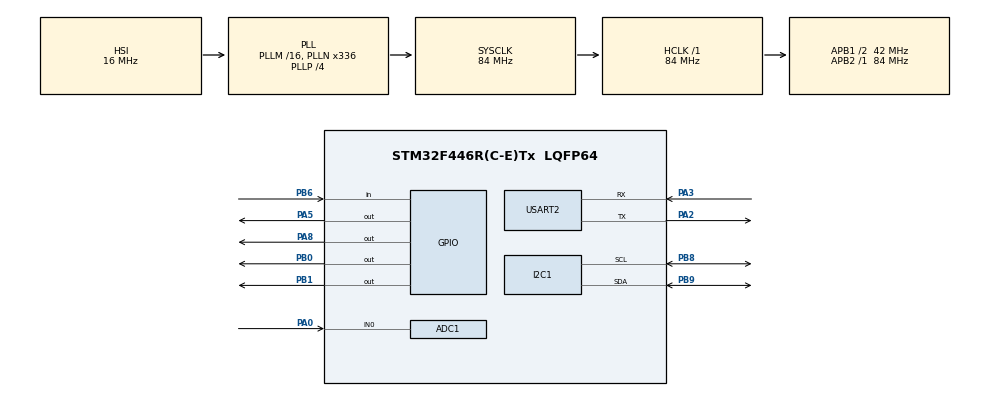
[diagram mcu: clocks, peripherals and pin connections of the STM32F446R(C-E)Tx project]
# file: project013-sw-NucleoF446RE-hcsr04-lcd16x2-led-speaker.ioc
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ADC1.Channel-0\#ChannelRegularConversion=ADC_CHANNEL_0
ADC1.ContinuousConvMode=ENABLE
ADC1.InjNumberOfConversion=0
ADC1.NbrOfConversion=1
ADC1.NbrOfConversionFlag=1
ADC1.Rank-0\#ChannelRegularConversion=1
ADC1.SamplingTime-0\#ChannelRegularConversion=ADC_SAMPLETIME_3CYCLES
ADC1.master=1
Mcu.Family=STM32F4
Mcu.Name=STM32F446R(C-E)Tx
Mcu.Package=LQFP64
NVIC.PriorityGroup=NVIC_PRIORITYGROUP_0
NVIC.TIM3_IRQn=true\:0\:0\:false\:false\:true\:true\:true\:true
NVIC.USART2_IRQn=true\:0\:0\:false\:false\:true\:true\:true\:true
PA0-WKUP.Signal=ADCx_IN0
PA2.Mode=Asynchronous
PA2.Signal=USART2_TX
PA3.Mode=Asynchronous
PA3.Signal=USART2_RX
PA5.Signal=GPIO_Output
PA8.PinState=GPIO_PIN_SET
PA8.Signal=GPIO_Output
PB0.Signal=GPIO_Output
PB1.Signal=GPIO_Output
PB6.Signal=GPIO_Input
PB8.GPIO_Pu=GPIO_PULLUP
PB8.Mode=I2C
PB8.Signal=I2C1_SCL
PB9.GPIO_Pu=GPIO_PULLUP
PB9.Mode=I2C
PB9.Signal=I2C1_SDA
PH0-OSC_IN.Mode=HSE-External-Oscillator
PH0-OSC_IN.Signal=RCC_OSC_IN
PH1-OSC_OUT.Mode=HSE-External-Oscillator
PH1-OSC_OUT.Signal=RCC_OSC_OUT
ProjectManager.HeapSize=0x200
ProjectManager.StackSize=0x400
ProjectManager.TargetToolchain=STM32CubeIDE
RCC.48MHZClocksFreq_Value=84000000
RCC.AHBFreq_Value=84000000
RCC.APB1CLKDivider=RCC_HCLK_DIV2
RCC.APB1Freq_Value=42000000
RCC.APB1TimFreq_Value=84000000
RCC.APB2Freq_Value=84000000
RCC.APB2TimFreq_Value=84000000
RCC.CortexFreq_Value=84000000
RCC.FLatency-AdvancedSettings=FLASH_LATENCY_2
RCC.HCLKFreq_Value=84000000
RCC.HSE_VALUE=8000000
RCC.HSI_VALUE=16000000
RCC.PLLN=336
RCC.PLLP=RCC_PLLP_DIV4
RCC.SYSCLKFreq_VALUE=84000000
RCC.SYSCLKSource=RCC_SYSCLKSOURCE_PLLCLK
RCC.USBFreq_Value=168000000
RCC.VCOOutputFreq_Value=336000000
SH.ADCx_IN0.0=ADC1_IN0,IN0
TIM2.Period=65535
TIM2.Prescaler=83
TIM3.Period=49999
TIM3.Prescaler=8399
USART2.VirtualMode=VM_ASYNC
VP_TIM2_VS_ClockSourceINT.Mode=Internal
VP_TIM3_VS_ClockSourceINT.Mode=Internal
board=NUCLEO-F446RE

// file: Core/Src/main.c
/* USER CODE BEGIN Header */
/**
  ******************************************************************************
  * @file           : main.c
  * @brief          : Main program body
  ******************************************************************************
  * @attention
  *
  * Copyright (c) 2025 STMicroelectronics.
  * All rights reserved.
  *
  * This software is licensed under terms that can be found in the LICENSE file
  * in the root directory of this software component.
  * If no LICENSE file comes with this software, it is provided AS-IS.
  *
  ******************************************************************************
  */
/* USER CODE END Header */
#include "main.h"

/* USER CODE BEGIN Includes */
#include "string.h"
#include "stdio.h"
#include "i2c-lcd.h"
#include "hdlc.h"
#include "command_handler.h"

/* USER CODE END Includes */

ADC_HandleTypeDef hadc1;
I2C_HandleTypeDef hi2c1;
TIM_HandleTypeDef htim2;
TIM_HandleTypeDef htim3;
UART_HandleTypeDef huart2;

/* USER CODE BEGIN PV */
#define DIST_BUFFER_SIZE 50
float distance_buffer[DIST_BUFFER_SIZE];
uint8_t distance_index = 0;
uint8_t last_index = 0; // index where last interrupt finished
uint8_t last_sent_index = 0;

float lower_limit = 5.0f;
float upper_limit = 50.0f;
float scaling_factor = 1.0f;
float eff_lower = 0.0f;
float eff_upper = 0.0f;
float distance = 0.00f;
uint8_t rx_byte;
/* USER CODE END PV */

int _write(int file, char *ptr, int len)
{
    HAL_UART_Transmit(&huart2, (uint8_t *)ptr, len, HAL_MAX_DELAY);
    return len;
}

void HAL_TIM_PeriodElapsedCallback(TIM_HandleTypeDef *htim)
{
    if (htim->Instance == TIM3)
    {
        float sum = 0.0f;
        uint8_t count = 0;
        uint8_t i = last_index;

        // Loop through circular buffer between last_index and current index
        while (i != distance_index)
        {
            sum += distance_buffer[i];
            count++;
            i = (i + 1) % DIST_BUFFER_SIZE;
        }

        if (count > 0)
        {
            float avg = sum / count;
            //printf("[TIM3 INT] Average distance from last interrupt: %.2f cm\r\n", avg);
        }

        // Update last_index to the current index
        last_index = distance_index;
    }
}

/*--------------------------------------------------------------*/
/* Utility: microsecond delay using TIM2                        */
void delay_us(uint16_t us)
{
    __HAL_TIM_SET_COUNTER(&htim2, 0);
    while (__HAL_TIM_GET_COUNTER(&htim2) < us);
}

/*--------------------------------------------------------------*/
/* Measure echo pulse duration in microseconds                  */
uint32_t read_ultrasonic(void)
{
    uint32_t local_time = 0;
    // Ensure trigger low
    HAL_GPIO_WritePin(GPIOA, GPIO_PIN_8, GPIO_PIN_RESET);
    HAL_Delay(2);
    // Send 10 µs pulse
    HAL_GPIO_WritePin(GPIOA, GPIO_PIN_8, GPIO_PIN_SET);
    delay_us(10);
    HAL_GPIO_WritePin(GPIOA, GPIO_PIN_8, GPIO_PIN_RESET);
    // Wait for ECHO to go high
    while (HAL_GPIO_ReadPin(GPIOB, GPIO_PIN_6) == GPIO_PIN_RESET);
    __HAL_TIM_SET_COUNTER(&htim2, 0); // start counting
    // Wait for ECHO to go low
    while (HAL_GPIO_ReadPin(GPIOB, GPIO_PIN_6) == GPIO_PIN_SET);
    local_time = __HAL_TIM_GET_COUNTER(&htim2);

    return local_time;
}
void store_distance(float value)
{
    distance_buffer[distance_index] = value;
    distance_index = (distance_index + 1) % DIST_BUFFER_SIZE;
}

void check_distance_warning(float distance,float eff_lower,float eff_upper){
    if (distance < eff_lower) {
  	  HAL_GPIO_WritePin(GPIOB, GPIO_PIN_0, GPIO_PIN_SET); // turn led on
  	  HAL_GPIO_WritePin(GPIOB, GPIO_PIN_1, GPIO_PIN_RESET); // turn buzzer off
    } else if (distance > eff_upper) {
  	  HAL_GPIO_WritePin(GPIOB, GPIO_PIN_0, GPIO_PIN_RESET); // turn led off
  	  HAL_GPIO_WritePin(GPIOB, GPIO_PIN_1, GPIO_PIN_SET); // turn buzzer on
    } else {
  	  HAL_GPIO_WritePin(GPIOB, GPIO_PIN_0, GPIO_PIN_RESET); // turn led off
  	  HAL_GPIO_WritePin(GPIOB, GPIO_PIN_1, GPIO_PIN_RESET); // turn buzzer off
    }
}

uint32_t read_potentiometer() {
    HAL_ADC_Start(&hadc1);
    HAL_ADC_PollForConversion(&hadc1, HAL_MAX_DELAY);
    uint32_t adc_val = HAL_ADC_GetValue(&hadc1);
    HAL_ADC_Stop(&hadc1);
    return adc_val;
}

void HAL_UART_RxCpltCallback(UART_HandleTypeDef *huart)
{
    if (huart->Instance == USART2)
    {
        // DEBUG: uncomment for trace output
        // printf("RX: 0x%02X\r\n", rx_byte);

        // feed the received byte to the HDLC state machine
        hdlc_process_rx_byte(rx_byte, 0);

        // restart receive for next byte
        HAL_UART_Receive_IT(&huart2, &rx_byte, 1);
    }
}
/*--------------------------------------------------------------*/

void SystemClock_Config(void);
static void MX_GPIO_Init(void);
static void MX_TIM2_Init(void);
static void MX_USART2_UART_Init(void);
static void MX_TIM3_Init(void);
static void MX_I2C1_Init(void);
static void MX_ADC1_Init(void);

int main(void)
{

  /* MCU Configuration--------------------------------------------------------*/

  /* Reset of all peripherals, Initializes the Flash interface and the Systick. */
  HAL_Init();

  /* Configure the system clock */
  SystemClock_Config();

  /* Initialize all configured peripherals */
  MX_GPIO_Init();
  MX_TIM2_Init();
  MX_USART2_UART_Init();
  MX_TIM3_Init();
  MX_I2C1_Init();
  MX_ADC1_Init();
  /* USER CODE BEGIN 2 */
  HAL_TIM_Base_Start(&htim2);   // start TIM2 once
  HAL_TIM_Base_Start_IT(&htim3);
  hdlc_init();
  HAL_UART_Receive_IT(&huart2, &rx_byte, 1);

  lcd_init();
  HAL_Delay(50);
  if (HAL_I2C_IsDeviceReady(&hi2c1, LCD_ADDR, 2, 100) == HAL_OK)
      printf("LCD found at 0x%02X\r\n", LCD_ADDR >> 1);
  else
      printf("LCD not responding!\r\n");
  lcd_put_cur(0, 0);
  lcd_send_string("init");
  lcd_put_cur(1, 0);
  lcd_send_string("lcd");
  /* USER CODE END 2 */

  /* Infinite loop */
  /* USER CODE BEGIN WHILE */
  char buf[16];
  sprintf(buf, "UL:%.1f LL:%.1f", upper_limit, lower_limit);
  lcd_clear();
  lcd_put_cur(0, 0);
  lcd_send_string(buf);
  /*
  Distance=Speed of Sound×Time
  One-way distance=(Speed of Sound)×(Time)/2
  Speed of Sound-343 m/s=0.0343 cm/µs
  One-way distance=0.0343×(Time)/2
​  One-way distance=(Time)/58.3
  One-way distance=(Time)/58
  */
  while (1)
  {
      uint32_t time = read_ultrasonic();
      distance = (float)time / 58.0;
      store_distance(distance); // store in circular buffer

      //Compute scaling factor in real-time
      uint32_t adc_val = read_potentiometer();
      scaling_factor = (3.3f * adc_val) / 4095.0f;

      eff_lower = lower_limit * scaling_factor;
      eff_upper = upper_limit * scaling_factor;

      check_distance_warning(distance, eff_lower, eff_upper);

      // Update LCD with scaled limits on row 0
      lcd_put_cur(0, 0);
      sprintf(buf, "UL:%.1f LL:%.1f", eff_upper, eff_lower);
      lcd_send_string(buf);

      lcd_put_cur(1, 0);
      sprintf(buf, "S:%.1f Dis:%.1f", scaling_factor, distance);
      lcd_send_string(buf);

      HAL_GPIO_TogglePin(GPIOA, GPIO_PIN_5);
      HAL_Delay(500);
    /* USER CODE END WHILE */

  }
}

void SystemClock_Config(void)
{
  RCC_OscInitTypeDef RCC_OscInitStruct = {0};
  RCC_ClkInitTypeDef RCC_ClkInitStruct = {0};

  /** Configure the main internal regulator output voltage
  */
  __HAL_RCC_PWR_CLK_ENABLE();
  __HAL_PWR_VOLTAGESCALING_CONFIG(PWR_REGULATOR_VOLTAGE_SCALE3);

  /** Initializes the RCC Oscillators according to the specified parameters
  * in the RCC_OscInitTypeDef structure.
  */
  RCC_OscInitStruct.OscillatorType = RCC_OSCILLATORTYPE_HSI;
  RCC_OscInitStruct.HSIState = RCC_HSI_ON;
  RCC_OscInitStruct.HSICalibrationValue = RCC_HSICALIBRATION_DEFAULT;
  RCC_OscInitStruct.PLL.PLLState = RCC_PLL_ON;
  RCC_OscInitStruct.PLL.PLLSource = RCC_PLLSOURCE_HSI;
  RCC_OscInitStruct.PLL.PLLM = 16;
  RCC_OscInitStruct.PLL.PLLN = 336;
  RCC_OscInitStruct.PLL.PLLP = RCC_PLLP_DIV4;
  RCC_OscInitStruct.PLL.PLLQ = 2;
  RCC_OscInitStruct.PLL.PLLR = 2;
  if (HAL_RCC_OscConfig(&RCC_OscInitStruct) != HAL_OK)
  {
    Error_Handler();
  }

  /** Initializes the CPU, AHB and APB buses clocks
  */
  RCC_ClkInitStruct.ClockType = RCC_CLOCKTYPE_HCLK|RCC_CLOCKTYPE_SYSCLK
                              |RCC_CLOCKTYPE_PCLK1|RCC_CLOCKTYPE_PCLK2;
  RCC_ClkInitStruct.SYSCLKSource = RCC_SYSCLKSOURCE_PLLCLK;
  RCC_ClkInitStruct.AHBCLKDivider = RCC_SYSCLK_DIV1;
  RCC_ClkInitStruct.APB1CLKDivider = RCC_HCLK_DIV2;
  RCC_ClkInitStruct.APB2CLKDivider = RCC_HCLK_DIV1;

  if (HAL_RCC_ClockConfig(&RCC_ClkInitStruct, FLASH_LATENCY_2) != HAL_OK)
  {
    Error_Handler();
  }
}

static void MX_ADC1_Init(void)
{

  ADC_ChannelConfTypeDef sConfig = {0};

  /** Configure the global features of the ADC (Clock, Resolution, Data Alignment and number of conversion)
  */
  hadc1.Instance = ADC1;
  hadc1.Init.ClockPrescaler = ADC_CLOCK_SYNC_PCLK_DIV4;
  hadc1.Init.Resolution = ADC_RESOLUTION_12B;
  hadc1.Init.ScanConvMode = DISABLE;
  hadc1.Init.ContinuousConvMode = ENABLE;
  hadc1.Init.DiscontinuousConvMode = DISABLE;
  hadc1.Init.ExternalTrigConvEdge = ADC_EXTERNALTRIGCONVEDGE_NONE;
  hadc1.Init.ExternalTrigConv = ADC_SOFTWARE_START;
  hadc1.Init.DataAlign = ADC_DATAALIGN_RIGHT;
  hadc1.Init.NbrOfConversion = 1;
  hadc1.Init.DMAContinuousRequests = DISABLE;
  hadc1.Init.EOCSelection = ADC_EOC_SINGLE_CONV;
  if (HAL_ADC_Init(&hadc1) != HAL_OK)
  {
    Error_Handler();
  }

  /** Configure for the selected ADC regular channel its corresponding rank in the sequencer and its sample time.
  */
  sConfig.Channel = ADC_CHANNEL_0;
  sConfig.Rank = 1;
  sConfig.SamplingTime = ADC_SAMPLETIME_3CYCLES;
  if (HAL_ADC_ConfigChannel(&hadc1, &sConfig) != HAL_OK)
  {
    Error_Handler();
  }

}

static void MX_I2C1_Init(void)
{

  hi2c1.Instance = I2C1;
  hi2c1.Init.ClockSpeed = 100000;
  hi2c1.Init.DutyCycle = I2C_DUTYCYCLE_2;
  hi2c1.Init.OwnAddress1 = 0;
  hi2c1.Init.AddressingMode = I2C_ADDRESSINGMODE_7BIT;
  hi2c1.Init.DualAddressMode = I2C_DUALADDRESS_DISABLE;
  hi2c1.Init.OwnAddress2 = 0;
  hi2c1.Init.GeneralCallMode = I2C_GENERALCALL_DISABLE;
  hi2c1.Init.NoStretchMode = I2C_NOSTRETCH_DISABLE;
  if (HAL_I2C_Init(&hi2c1) != HAL_OK)
  {
    Error_Handler();
  }

}

static void MX_TIM2_Init(void)
{

  TIM_ClockConfigTypeDef sClockSourceConfig = {0};
  TIM_MasterConfigTypeDef sMasterConfig = {0};

  htim2.Instance = TIM2;
  htim2.Init.Prescaler = 83;
  htim2.Init.CounterMode = TIM_COUNTERMODE_UP;
  htim2.Init.Period = 65535;
  htim2.Init.ClockDivision = TIM_CLOCKDIVISION_DIV1;
  htim2.Init.AutoReloadPreload = TIM_AUTORELOAD_PRELOAD_DISABLE;
  if (HAL_TIM_Base_Init(&htim2) != HAL_OK)
  {
    Error_Handler();
  }
  sClockSourceConfig.ClockSource = TIM_CLOCKSOURCE_INTERNAL;
  if (HAL_TIM_ConfigClockSource(&htim2, &sClockSourceConfig) != HAL_OK)
  {
    Error_Handler();
  }
  sMasterConfig.MasterOutputTrigger = TIM_TRGO_RESET;
  sMasterConfig.MasterSlaveMode = TIM_MASTERSLAVEMODE_DISABLE;
  if (HAL_TIMEx_MasterConfigSynchronization(&htim2, &sMasterConfig) != HAL_OK)
  {
    Error_Handler();
  }

}

static void MX_TIM3_Init(void)
{

  TIM_ClockConfigTypeDef sClockSourceConfig = {0};
  TIM_MasterConfigTypeDef sMasterConfig = {0};

  htim3.Instance = TIM3;
  htim3.Init.Prescaler = 8399;
  htim3.Init.CounterMode = TIM_COUNTERMODE_UP;
  htim3.Init.Period = 49999;
  htim3.Init.ClockDivision = TIM_CLOCKDIVISION_DIV1;
  htim3.Init.AutoReloadPreload = TIM_AUTORELOAD_PRELOAD_DISABLE;
  if (HAL_TIM_Base_Init(&htim3) != HAL_OK)
  {
    Error_Handler();
  }
  sClockSourceConfig.ClockSource = TIM_CLOCKSOURCE_INTERNAL;
  if (HAL_TIM_ConfigClockSource(&htim3, &sClockSourceConfig) != HAL_OK)
  {
    Error_Handler();
  }
  sMasterConfig.MasterOutputTrigger = TIM_TRGO_RESET;
  sMasterConfig.MasterSlaveMode = TIM_MASTERSLAVEMODE_DISABLE;
  if (HAL_TIMEx_MasterConfigSynchronization(&htim3, &sMasterConfig) != HAL_OK)
  {
    Error_Handler();
  }

}

static void MX_USART2_UART_Init(void)
{

  huart2.Instance = USART2;
  huart2.Init.BaudRate = 115200;
  huart2.Init.WordLength = UART_WORDLENGTH_8B;
  huart2.Init.StopBits = UART_STOPBITS_1;
  huart2.Init.Parity = UART_PARITY_NONE;
  huart2.Init.Mode = UART_MODE_TX_RX;
  huart2.Init.HwFlowCtl = UART_HWCONTROL_NONE;
  huart2.Init.OverSampling = UART_OVERSAMPLING_16;
  if (HAL_UART_Init(&huart2) != HAL_OK)
  {
    Error_Handler();
  }

}

static void MX_GPIO_Init(void)
{
  GPIO_InitTypeDef GPIO_InitStruct = {0};

  /* GPIO Ports Clock Enable */
  __HAL_RCC_GPIOH_CLK_ENABLE();
  __HAL_RCC_GPIOA_CLK_ENABLE();
  __HAL_RCC_GPIOB_CLK_ENABLE();

  /*Configure GPIO pin Output Level */
  HAL_GPIO_WritePin(GPIOA, GPIO_PIN_5, GPIO_PIN_RESET);

  /*Configure GPIO pin Output Level */
  HAL_GPIO_WritePin(GPIOB, GPIO_PIN_0|GPIO_PIN_1, GPIO_PIN_RESET);

  /*Configure GPIO pin Output Level */
  HAL_GPIO_WritePin(GPIOA, GPIO_PIN_8, GPIO_PIN_SET);

  /*Configure GPIO pins : PA5 PA8 */
  GPIO_InitStruct.Pin = GPIO_PIN_5|GPIO_PIN_8;
  GPIO_InitStruct.Mode = GPIO_MODE_OUTPUT_PP;
  GPIO_InitStruct.Pull = GPIO_NOPULL;
  GPIO_InitStruct.Speed = GPIO_SPEED_FREQ_LOW;
  HAL_GPIO_Init(GPIOA, &GPIO_InitStruct);

  /*Configure GPIO pins : PB0 PB1 */
  GPIO_InitStruct.Pin = GPIO_PIN_0|GPIO_PIN_1;
  GPIO_InitStruct.Mode = GPIO_MODE_OUTPUT_PP;
  GPIO_InitStruct.Pull = GPIO_NOPULL;
  GPIO_InitStruct.Speed = GPIO_SPEED_FREQ_LOW;
  HAL_GPIO_Init(GPIOB, &GPIO_InitStruct);

  /*Configure GPIO pin : PB6 */
  GPIO_InitStruct.Pin = GPIO_PIN_6;
  GPIO_InitStruct.Mode = GPIO_MODE_INPUT;
  GPIO_InitStruct.Pull = GPIO_NOPULL;
  HAL_GPIO_Init(GPIOB, &GPIO_InitStruct);

}

void Error_Handler(void)
{
  __disable_irq();
  while (1)
  {
  }
}
